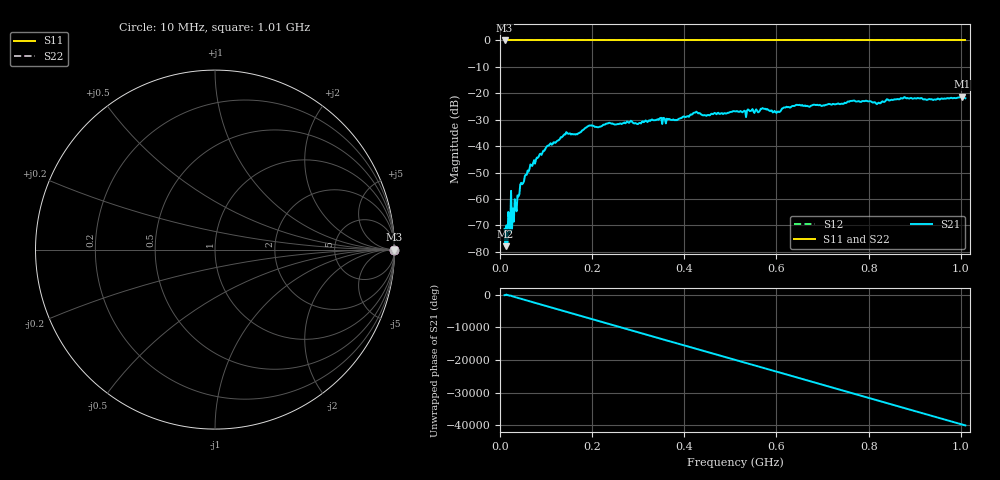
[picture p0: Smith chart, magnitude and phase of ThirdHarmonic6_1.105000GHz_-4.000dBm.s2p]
! 8/16/2025 10:26:21 AM
! C:\ANRITSUVNA\TEMP\TEMP.S2P
! CHANNEL.1
! TR.MEASUREMENT
! RAW.DATA
! RF.CORRECTION.OFF
! AVERAGING.OFF
! IF.BANDWIDTH: 5KHZ
! SWEEPTYPE:  FREQ.SWEEP(Linear)
! Reference Plane Port Info
! PORT:  PORT1  PORT2
! DISTANCE:  0  m  0  m
! TIME:  0  s  0  s
! PHASE.OFFSET:  0  deg.  0  deg.
! LOSS:  0  dB  0  dB
! REF.LOSS:  0  dB  0  dB
! REF.FREQ:  0  Hz  0  Hz
! Power Info
! POWER:  -20  dBm  -20  dBm
! EFF.POWER:  -20  dBm  -20  dBm
! SOURCE.ATTEN:  0  dB  0  dB
! TEST.ATTEN:  0  dB  0  dB
# GHZ S RI R 50.0
! FREQ.GHZ  S11RE  S11IM  S21RE  S21IM  S12RE  S12IM  S22RE  S22IM
!; PortSelection: Port_12
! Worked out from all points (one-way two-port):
!   501 points, 10 MHz to 1.01 GHz, reference 50 ohm
!   highest |S21| = -21.29 dB at 1.002 GHz (marker M1); lowest = -77.9 dB at 12 MHz (marker M2)
!   lowest |S11| = 0.0 dB at 10 MHz (marker M3)
!   |S11| at or under -10 dB: nowhere
!   |S22| runs from 0.0 to 0.0 dB; largest |S21 - S12| = 1.1
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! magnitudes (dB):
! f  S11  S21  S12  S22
! 10 MHz  0.0  -71.3  0.0  0.0
! 12 MHz  0.0  -77.9  0.0  0.0
! 22 MHz  0.0  -72.7  0.0  0.0
! 26 MHz  0.0  -71.7  0.0  0.0
! 28 MHz  0.0  -63.6  0.0  0.0
! 30 MHz  0.0  -68.6  0.0  0.0
! 48 MHz  0.0  -54.5  0.0  0.0
! 70 MHz  0.0  -47.5  0.0  0.0
! 106 MHz  0.0  -39.8  0.0  0.0
! 142 MHz  0.0  -35.6  0.0  0.0
! 178 MHz  0.0  -34.1  0.0  0.0
! 194 MHz  0.0  -32.2  0.0  0.0
! 344 MHz  0.0  -30.1  0.0  0.0
! 424 MHz  0.0  -27.3  0.0  0.0
! 510 MHz  0.0  -26.9  0.0  0.0
! 572 MHz  0.0  -25.8  0.0  0.0
! 602 MHz  0.0  -27.0  0.0  0.0
! 620 MHz  0.0  -25.4  0.0  0.0
! 678 MHz  0.0  -24.5  0.0  0.0
! 844 MHz  0.0  -22.7  0.0  0.0
! 1.002 GHz  0.0  -21.3  0.0  0.0
! 1.01 GHz  0.0  -21.9  0.0  0.0
